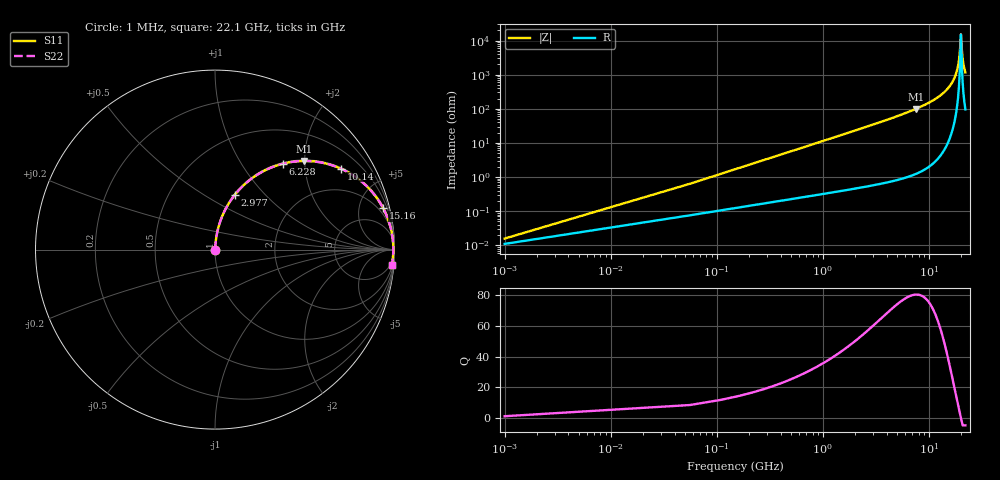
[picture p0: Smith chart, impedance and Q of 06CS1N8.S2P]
! Coilcraft 0603CS-1N8 Chip Inductor
! 21 May 2002
# MHZ S MA R 50
!Freq  MagS11  AngS11  MagS21  AngS21  MagS12  AngS12  MagS22  AngS22
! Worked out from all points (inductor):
!   402 points, 1 MHz to 22.1 GHz, reference 50 ohm
!   read as one part in series: L = 1.8 nH near 111.2 MHz
!   highest Q = 80.5 at 7.551 GHz (marker M1), where L = 2.1 nH
!   self-resonance near 20.01 GHz
!   S11 on the Smith chart (normalised r, x): 1 MHz: 1.00, +0.00; 2.977 GHz: 1.01, +0.69; 6.228 GHz: 1.02, +1.56; 10.14 GHz: 1.04, +3.08; 15.16 GHz: 1.20, +7.99; 22.1 GHz: 3, -23
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1  0.0001578 45.8  0.9999 -0.0  0.9999 -0.0  0.0001578 45.8
166.33  0.01883 85.0  0.9985 -1.1  0.9985 -1.1  0.01883 85.0
276.55  0.03126 85.1  0.9978 -1.8  0.9978 -1.8  0.03126 85.1
496.99  0.05607 84.5  0.9962 -3.2  0.9962 -3.2  0.05607 84.5
882.76  0.09929 82.6  0.9921 -5.7  0.9921 -5.7  0.09929 82.6
1378.75  0.1543 79.8  0.9843 -8.9  0.9843 -8.9  0.1543 79.8
2976.94  0.3239 70.2  0.9407 -18.9  0.9407 -18.9  0.3239 70.2
3693.37  0.3947 65.9  0.9128 -23.2  0.9128 -23.2  0.3947 65.9
6228.43  0.6111 51.6  0.7838 -37.7  0.7838 -37.7  0.6111 51.6
7385.74  0.6907 45.6  0.7146 -43.7  0.7146 -43.7  0.6907 45.6
7551.07  0.7011 44.8  0.7045 -44.5  0.7045 -44.5  0.7011 44.8
10141.24  0.8338 32.8  0.541 -56.5  0.541 -56.5  0.8338 32.8
11078.11  0.8693 28.8  0.4821 -60.4  0.4821 -60.4  0.8693 28.8
14770.48  0.9587 15.2  0.2626 -73.4  0.2626 -73.4  0.9587 15.2
15156.25  0.9643 14.0  0.2412 -74.6  0.2412 -74.6  0.9643 14.0
17085.1  0.984 8.0  0.1397 -79.4  0.1397 -79.4  0.984 8.0
18462.85  0.991 4.1  0.07252 -80.8  0.07252 -80.8  0.991 4.1
19344.61  0.993 1.8  0.03212 -76.6  0.03212 -76.6  0.993 1.8
20061.04  0.9934 -0.0  0.006611 3.4  0.006611 3.4  0.9934 -0.0
20501.92  0.9931 -1.1  0.02055 69.9  0.02055 69.9  0.9931 -1.1
20832.58  0.9927 -1.9  0.03411 76.7  0.03411 76.7  0.9927 -1.9
22100  0.9894 -4.9  0.08526 80.4  0.08526 80.4  0.9894 -4.9
